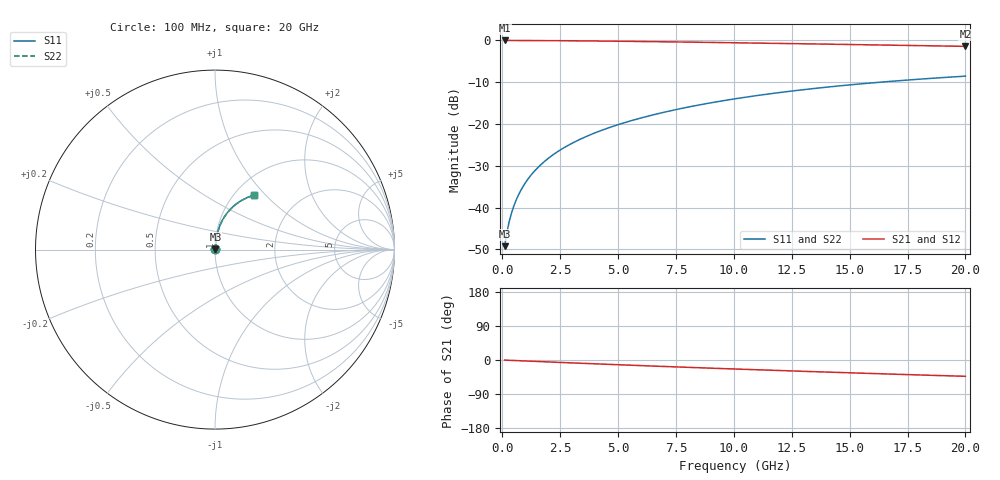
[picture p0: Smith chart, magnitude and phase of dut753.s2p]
! Touchstone file exported from HFSS 2024.1.0
!  File:  C:/UserFiles/LocalFiles/RDL_TSV_Batchsim/temp_RDL_bottom_753_1779859840.aedt
!  Generated:  01:33:13 PM May 27, 2026
!  Design:  RDL_bottom
!  Project:  temp_RDL_bottom_753_1779859840
!  Setup:  Setup1
!  Solution:  Sweep
! Variables:
!  dtsv = 10.80580581um
!  hbump = 3um
!  htsv = 78.49um
!  ldown = 645.09um
!  lrdl = 100um
!  p = 40
!  p1 = 44.17um
!  rhole = 1um
!  t = 450um
!  tdown = 4.61um
!  trdl = 3.915915916um
!  wdown = 19.32um
!  wrdl = 20um
# GHz S MA R 50.000000
! Terminal data exported
! Port[1] = RDL1_T1
! Port[2] = RDL1_T2
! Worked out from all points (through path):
!   200 points, 100 MHz to 20 GHz, reference 50 ohm
!   highest |S21| = -0.02 dB at 100 MHz (marker M1); lowest = -1.4 dB at 20 GHz (marker M2)
!   group delay of S21, straight-line fit = 5.94 ps
!   lowest |S11| = -49.2 dB at 100 MHz (marker M3), VSWR 1.01, Z = 50.3 + j0.214 ohm
!   |S11| at or under -10 dB: start of sweep to 16.34 GHz
!   |S22| runs from -49.2 to -8.6 dB; largest |S21 - S12| = 1.4e-14
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0.1  0.003453 38.1  0.9973 -0.3  0.9973 -0.3  0.003453 38.1
! Gamma 0 0 0 0
! Port Impedance 50 0 50 0
0.2  0.005062 55.5  0.9971 -0.5  0.9971 -0.5  0.005062 55.5
0.3  0.006828 63.7  0.9969 -0.8  0.9969 -0.8  0.006828 63.7
0.4  0.008633 68.6  0.9968 -1.1  0.9968 -1.1  0.008633 68.6
0.5  0.01046 71.9  0.9966 -1.3  0.9966 -1.3  0.01046 71.9
0.6  0.01231 74.3  0.9965 -1.6  0.9965 -1.6  0.01231 74.2
0.8  0.01606 77.3  0.9962 -2.1  0.9962 -2.1  0.01606 77.3
1.1  0.02175 79.9  0.9956 -2.8  0.9956 -2.8  0.02175 79.9
1.5  0.02942 81.5  0.9946 -3.9  0.9946 -3.9  0.02942 81.5
1.8  0.0352 82.2  0.9937 -4.6  0.9937 -4.6  0.0352 82.2
2.1  0.04101 82.5  0.9926 -5.4  0.9926 -5.4  0.04101 82.5
2.7  0.05267 82.7  0.9901 -6.9  0.9901 -6.9  0.05267 82.7
3.5  0.06833 82.4  0.986 -8.9  0.986 -8.9  0.06832 82.4
4.2  0.08214 81.8  0.9819 -10.6  0.9819 -10.6  0.08212 81.8
5  0.09807 81.0  0.9766 -12.5  0.9766 -12.5  0.09803 81.0
6.8  0.1343 78.6  0.9632 -16.7  0.9632 -16.7  0.1343 78.6
8.4  0.1668 76.0  0.9502 -20.3  0.9502 -20.3  0.1667 76.0
10.1  0.201 73.0  0.9357 -23.9  0.9357 -23.9  0.2008 72.9
11.7  0.2324 70.0  0.9216 -27.2  0.9216 -27.2  0.2322 69.9
13.4  0.2645 66.7  0.9065 -30.7  0.9065 -30.7  0.2643 66.7
16.7  0.3223 60.4  0.8769 -37.0  0.8769 -37.0  0.3219 60.3
20  0.3732 54.3  0.8478 -43.1  0.8478 -43.1  0.3727 54.3
